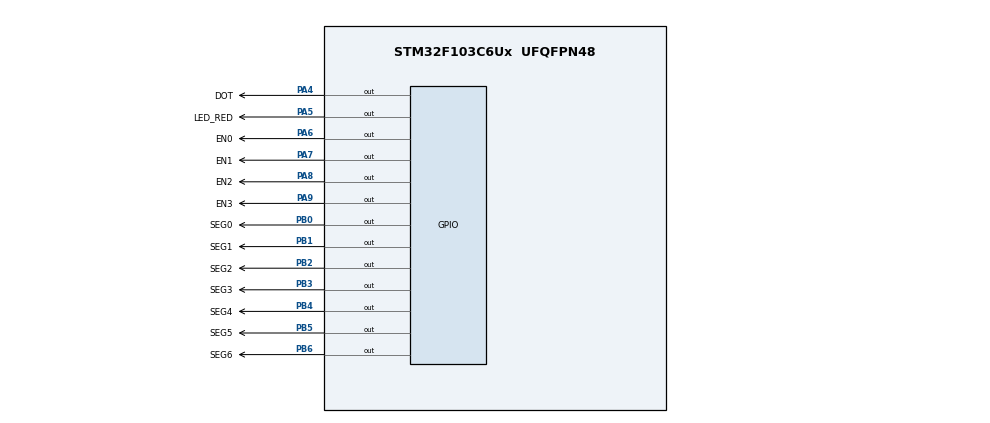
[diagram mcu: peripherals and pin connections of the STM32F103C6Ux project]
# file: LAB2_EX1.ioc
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Mcu.Family=STM32F1
Mcu.Name=STM32F103C6Ux
Mcu.Package=UFQFPN48
NVIC.PriorityGroup=NVIC_PRIORITYGROUP_4
NVIC.TIM2_IRQn=true\:0\:0\:false\:false\:true\:true\:true
PA4.GPIO_Label=DOT
PA4.Signal=GPIO_Output
PA5.GPIO_Label=LED_RED
PA5.Signal=GPIO_Output
PA6.GPIO_Label=EN0
PA6.Signal=GPIO_Output
PA7.GPIO_Label=EN1
PA7.Signal=GPIO_Output
PA8.GPIO_Label=EN2
PA8.Signal=GPIO_Output
PA9.GPIO_Label=EN3
PA9.Signal=GPIO_Output
PB0.GPIO_Label=SEG0
PB0.Signal=GPIO_Output
PB1.GPIO_Label=SEG1
PB1.Signal=GPIO_Output
PB2.GPIO_Label=SEG2
PB2.Signal=GPIO_Output
PB3.GPIO_Label=SEG3
PB3.Signal=GPIO_Output
PB4.GPIO_Label=SEG4
PB4.Signal=GPIO_Output
PB5.GPIO_Label=SEG5
PB5.Signal=GPIO_Output
PB6.GPIO_Label=SEG6
PB6.Signal=GPIO_Output
ProjectManager.HeapSize=0x200
ProjectManager.StackSize=0x400
ProjectManager.TargetToolchain=STM32CubeIDE
RCC.APB1Freq_Value=8000000
RCC.APB2Freq_Value=8000000
TIM2.Period=9
TIM2.Prescaler=7999
VP_SYS_VS_ND.Mode=No_Debug
VP_TIM2_VS_ClockSourceINT.Mode=Internal
board=custom

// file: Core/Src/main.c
/* USER CODE BEGIN Header */
/**
  ******************************************************************************
  * @file           : main.c
  * @brief          : Main program body
  ******************************************************************************
  * @attention
  *
  * <h2><center>&copy; Copyright (c) 2024 STMicroelectronics.
  * All rights reserved.</center></h2>
  *
  * This software component is licensed by ST under BSD 3-Clause license,
  * the "License"; You may not use this file except in compliance with the
  * License. You may obtain a copy of the License at:
  *                        opensource.org/licenses/BSD-3-Clause
  *
  ******************************************************************************
  */
/* USER CODE END Header */
#include "main.h"

TIM_HandleTypeDef htim2;

void SystemClock_Config(void);
static void MX_GPIO_Init(void);
static void MX_TIM2_Init(void);

/* USER CODE BEGIN 0 */

int timer_counter0 = 0;
int timer_flag0 = 0;
int timer_counter1 = 0;
int timer_flag1 = 0;
int TIMER_CYCLE = 10;

void setTimer0(int duration) {
	timer_counter0 = duration / TIMER_CYCLE;
	timer_flag0 = 0;
}

void timer_run0() {
	if (timer_counter0 > 0) {
		timer_counter0--;
		if (timer_counter0 <= 0) {
			timer_flag0 = 1;
		}
	}
}

void setTimer1(int duration) {
	timer_counter1 = duration / TIMER_CYCLE;
	timer_flag1 = 0;
}

void timer_run1() {
	if (timer_counter1 > 0) {
		timer_counter1--;
		if (timer_counter1 <= 0) {
			timer_flag1 = 1;
		}
	}
}

void display7SEG(int num) {
	switch (num) {
	case 0:
		HAL_GPIO_WritePin(SEG0_GPIO_Port, SEG0_Pin, RESET);
		HAL_GPIO_WritePin(SEG1_GPIO_Port, SEG1_Pin, RESET);
		HAL_GPIO_WritePin(SEG2_GPIO_Port, SEG2_Pin, RESET);
		HAL_GPIO_WritePin(SEG3_GPIO_Port, SEG3_Pin, RESET);
		HAL_GPIO_WritePin(SEG4_GPIO_Port, SEG4_Pin, RESET);
		HAL_GPIO_WritePin(SEG5_GPIO_Port, SEG5_Pin, RESET);
		HAL_GPIO_WritePin(SEG6_GPIO_Port, SEG6_Pin, SET);
		break;
	case 1:
		HAL_GPIO_WritePin(SEG0_GPIO_Port, SEG0_Pin, SET);
		HAL_GPIO_WritePin(SEG1_GPIO_Port, SEG1_Pin, RESET);
		HAL_GPIO_WritePin(SEG2_GPIO_Port, SEG2_Pin, RESET);
		HAL_GPIO_WritePin(SEG3_GPIO_Port, SEG3_Pin, SET);
		HAL_GPIO_WritePin(SEG4_GPIO_Port, SEG4_Pin, SET);
		HAL_GPIO_WritePin(SEG5_GPIO_Port, SEG5_Pin, SET);
		HAL_GPIO_WritePin(SEG6_GPIO_Port, SEG6_Pin, SET);
		break;
	case 2:
		HAL_GPIO_WritePin(SEG0_GPIO_Port, SEG0_Pin, RESET);
		HAL_GPIO_WritePin(SEG1_GPIO_Port, SEG1_Pin, RESET);
		HAL_GPIO_WritePin(SEG2_GPIO_Port, SEG2_Pin, SET);
		HAL_GPIO_WritePin(SEG3_GPIO_Port, SEG3_Pin, RESET);
		HAL_GPIO_WritePin(SEG4_GPIO_Port, SEG4_Pin, RESET);
		HAL_GPIO_WritePin(SEG5_GPIO_Port, SEG5_Pin, SET);
		HAL_GPIO_WritePin(SEG6_GPIO_Port, SEG6_Pin, RESET);
		break;
	case 3:
		HAL_GPIO_WritePin(SEG0_GPIO_Port, SEG0_Pin, RESET);
		HAL_GPIO_WritePin(SEG1_GPIO_Port, SEG1_Pin, RESET);
		HAL_GPIO_WritePin(SEG2_GPIO_Port, SEG2_Pin, RESET);
		HAL_GPIO_WritePin(SEG3_GPIO_Port, SEG3_Pin, RESET);
		HAL_GPIO_WritePin(SEG4_GPIO_Port, SEG4_Pin, SET);
		HAL_GPIO_WritePin(SEG5_GPIO_Port, SEG5_Pin, SET);
		HAL_GPIO_WritePin(SEG6_GPIO_Port, SEG6_Pin, RESET);
		break;
	case 4:
		HAL_GPIO_WritePin(SEG0_GPIO_Port, SEG0_Pin, SET);
		HAL_GPIO_WritePin(SEG1_GPIO_Port, SEG1_Pin, RESET);
		HAL_GPIO_WritePin(SEG2_GPIO_Port, SEG2_Pin, RESET);
		HAL_GPIO_WritePin(SEG3_GPIO_Port, SEG3_Pin, SET);
		HAL_GPIO_WritePin(SEG4_GPIO_Port, SEG4_Pin, SET);
		HAL_GPIO_WritePin(SEG5_GPIO_Port, SEG5_Pin, RESET);
		HAL_GPIO_WritePin(SEG6_GPIO_Port, SEG6_Pin, RESET);
		break;
	case 5:
		HAL_GPIO_WritePin(SEG0_GPIO_Port, SEG0_Pin, RESET);
		HAL_GPIO_WritePin(SEG1_GPIO_Port, SEG1_Pin, SET);
		HAL_GPIO_WritePin(SEG2_GPIO_Port, SEG2_Pin, RESET);
		HAL_GPIO_WritePin(SEG3_GPIO_Port, SEG3_Pin, RESET);
		HAL_GPIO_WritePin(SEG4_GPIO_Port, SEG4_Pin, SET);
		HAL_GPIO_WritePin(SEG5_GPIO_Port, SEG5_Pin, RESET);
		HAL_GPIO_WritePin(SEG6_GPIO_Port, SEG6_Pin, RESET);
		break;
	case 6:
		HAL_GPIO_WritePin(SEG0_GPIO_Port, SEG0_Pin, RESET);
		HAL_GPIO_WritePin(SEG1_GPIO_Port, SEG1_Pin, SET);
		HAL_GPIO_WritePin(SEG2_GPIO_Port, SEG2_Pin, RESET);
		HAL_GPIO_WritePin(SEG3_GPIO_Port, SEG3_Pin, RESET);
		HAL_GPIO_WritePin(SEG4_GPIO_Port, SEG4_Pin, RESET);
		HAL_GPIO_WritePin(SEG5_GPIO_Port, SEG5_Pin, RESET);
		HAL_GPIO_WritePin(SEG6_GPIO_Port, SEG6_Pin, RESET);
		break;
	case 7:
		HAL_GPIO_WritePin(SEG0_GPIO_Port, SEG0_Pin, RESET);
		HAL_GPIO_WritePin(SEG1_GPIO_Port, SEG1_Pin, RESET);
		HAL_GPIO_WritePin(SEG2_GPIO_Port, SEG2_Pin, RESET);
		HAL_GPIO_WritePin(SEG3_GPIO_Port, SEG3_Pin, SET);
		HAL_GPIO_WritePin(SEG4_GPIO_Port, SEG4_Pin, SET);
		HAL_GPIO_WritePin(SEG5_GPIO_Port, SEG5_Pin, SET);
		HAL_GPIO_WritePin(SEG6_GPIO_Port, SEG6_Pin, SET);
		break;
	case 8:
		HAL_GPIO_WritePin(SEG0_GPIO_Port, SEG0_Pin, RESET);
		HAL_GPIO_WritePin(SEG1_GPIO_Port, SEG1_Pin, RESET);
		HAL_GPIO_WritePin(SEG2_GPIO_Port, SEG2_Pin, RESET);
		HAL_GPIO_WritePin(SEG3_GPIO_Port, SEG3_Pin, RESET);
		HAL_GPIO_WritePin(SEG4_GPIO_Port, SEG4_Pin, RESET);
		HAL_GPIO_WritePin(SEG5_GPIO_Port, SEG5_Pin, RESET);
		HAL_GPIO_WritePin(SEG6_GPIO_Port, SEG6_Pin, RESET);
		break;
	case 9:
		HAL_GPIO_WritePin(SEG0_GPIO_Port, SEG0_Pin, RESET);
		HAL_GPIO_WritePin(SEG1_GPIO_Port, SEG1_Pin, RESET);
		HAL_GPIO_WritePin(SEG2_GPIO_Port, SEG2_Pin, RESET);
		HAL_GPIO_WritePin(SEG3_GPIO_Port, SEG3_Pin, RESET);
		HAL_GPIO_WritePin(SEG4_GPIO_Port, SEG4_Pin, SET);
		HAL_GPIO_WritePin(SEG5_GPIO_Port, SEG5_Pin, RESET);
		HAL_GPIO_WritePin(SEG6_GPIO_Port, SEG6_Pin, RESET);
		break;
	}
}

const int MAX_LED = 4;
int index_led = 0;
int led_buffer[4] = { 1, 2, 3, 4 };
void update7SEG(int index) {
	switch (index) {
	case 0:
		display7SEG(led_buffer[0]);
		break;
	case 1:
		display7SEG(led_buffer[1]);
		break;
	case 2:
		display7SEG(led_buffer[2]);
		break;
	case 3:
		display7SEG(led_buffer[3]);
		break;
	default:
		break;
	}
}

int hour = 15, minute = 8, second = 50;
void updateClockBuffer() {
	led_buffer[0] = hour / 10;
	led_buffer[1] = hour % 10;
	led_buffer[2] = minute / 10;
	led_buffer[3] = minute % 10;
}

/* USER CODE END 0 */

int main(void)
{

  /* MCU Configuration--------------------------------------------------------*/

  /* Reset of all peripherals, Initializes the Flash interface and the Systick. */
  HAL_Init();

  /* Configure the system clock */
  SystemClock_Config();

  /* Initialize all configured peripherals */
  MX_GPIO_Init();
  MX_TIM2_Init();
  /* USER CODE BEGIN 2 */
	HAL_TIM_Base_Start_IT(&htim2);
  /* USER CODE END 2 */

  /* Infinite loop */
  /* USER CODE BEGIN WHILE */
	setTimer0(1000);
	setTimer1(250);
	int num = 0;
  while (1)
  {
		if (timer_flag0 == 1) {
			second++;
			if (second >= 60) {
				second = 0;
				minute++;
			}
			if (minute >= 60) {
				minute = 0;
				hour++;
			}
			if (hour >= 24) {
				hour = 0;
			}
			updateClockBuffer();

			HAL_GPIO_TogglePin(LED_RED_GPIO_Port, LED_RED_Pin);
			HAL_GPIO_TogglePin(DOT_GPIO_Port, DOT_Pin);

			setTimer0(1000);
		}

		if (timer_flag1 == 1) {
			switch (num) {
			case 0:
				HAL_GPIO_WritePin(EN0_GPIO_Port, EN0_Pin, RESET);
				HAL_GPIO_WritePin(EN1_GPIO_Port, EN1_Pin, SET);
				HAL_GPIO_WritePin(EN2_GPIO_Port, EN2_Pin, SET);
				HAL_GPIO_WritePin(EN3_GPIO_Port, EN3_Pin, SET);
				update7SEG(0);
				num = 1;
				break;
			case 1:
				HAL_GPIO_WritePin(EN0_GPIO_Port, EN0_Pin, SET);
				HAL_GPIO_WritePin(EN1_GPIO_Port, EN1_Pin, RESET);
				HAL_GPIO_WritePin(EN2_GPIO_Port, EN2_Pin, SET);
				HAL_GPIO_WritePin(EN3_GPIO_Port, EN3_Pin, SET);
				update7SEG(1);
				num = 2;
				break;
			case 2:
				HAL_GPIO_WritePin(EN0_GPIO_Port, EN0_Pin, SET);
				HAL_GPIO_WritePin(EN1_GPIO_Port, EN1_Pin, SET);
				HAL_GPIO_WritePin(EN2_GPIO_Port, EN2_Pin, RESET);
				HAL_GPIO_WritePin(EN3_GPIO_Port, EN3_Pin, SET);
				update7SEG(2);
				num = 3;
				break;
			case 3:
				HAL_GPIO_WritePin(EN0_GPIO_Port, EN0_Pin, SET);
				HAL_GPIO_WritePin(EN1_GPIO_Port, EN1_Pin, SET);
				HAL_GPIO_WritePin(EN2_GPIO_Port, EN2_Pin, SET);
				HAL_GPIO_WritePin(EN3_GPIO_Port, EN3_Pin, RESET);
				update7SEG(3);
				num = 0;
				break;
			}

			setTimer1(250);
		}

    /* USER CODE END WHILE */

  }
}

void SystemClock_Config(void)
{
  RCC_OscInitTypeDef RCC_OscInitStruct = {0};
  RCC_ClkInitTypeDef RCC_ClkInitStruct = {0};

  /** Initializes the RCC Oscillators according to the specified parameters
  * in the RCC_OscInitTypeDef structure.
  */
  RCC_OscInitStruct.OscillatorType = RCC_OSCILLATORTYPE_HSI;
  RCC_OscInitStruct.HSIState = RCC_HSI_ON;
  RCC_OscInitStruct.HSICalibrationValue = RCC_HSICALIBRATION_DEFAULT;
  RCC_OscInitStruct.PLL.PLLState = RCC_PLL_NONE;
  if (HAL_RCC_OscConfig(&RCC_OscInitStruct) != HAL_OK)
  {
    Error_Handler();
  }
  /** Initializes the CPU, AHB and APB buses clocks
  */
  RCC_ClkInitStruct.ClockType = RCC_CLOCKTYPE_HCLK|RCC_CLOCKTYPE_SYSCLK
                              |RCC_CLOCKTYPE_PCLK1|RCC_CLOCKTYPE_PCLK2;
  RCC_ClkInitStruct.SYSCLKSource = RCC_SYSCLKSOURCE_HSI;
  RCC_ClkInitStruct.AHBCLKDivider = RCC_SYSCLK_DIV1;
  RCC_ClkInitStruct.APB1CLKDivider = RCC_HCLK_DIV1;
  RCC_ClkInitStruct.APB2CLKDivider = RCC_HCLK_DIV1;

  if (HAL_RCC_ClockConfig(&RCC_ClkInitStruct, FLASH_LATENCY_0) != HAL_OK)
  {
    Error_Handler();
  }
}

static void MX_TIM2_Init(void)
{

  TIM_ClockConfigTypeDef sClockSourceConfig = {0};
  TIM_MasterConfigTypeDef sMasterConfig = {0};

  htim2.Instance = TIM2;
  htim2.Init.Prescaler = 7999;
  htim2.Init.CounterMode = TIM_COUNTERMODE_UP;
  htim2.Init.Period = 9;
  htim2.Init.ClockDivision = TIM_CLOCKDIVISION_DIV1;
  htim2.Init.AutoReloadPreload = TIM_AUTORELOAD_PRELOAD_DISABLE;
  if (HAL_TIM_Base_Init(&htim2) != HAL_OK)
  {
    Error_Handler();
  }
  sClockSourceConfig.ClockSource = TIM_CLOCKSOURCE_INTERNAL;
  if (HAL_TIM_ConfigClockSource(&htim2, &sClockSourceConfig) != HAL_OK)
  {
    Error_Handler();
  }
  sMasterConfig.MasterOutputTrigger = TIM_TRGO_RESET;
  sMasterConfig.MasterSlaveMode = TIM_MASTERSLAVEMODE_DISABLE;
  if (HAL_TIMEx_MasterConfigSynchronization(&htim2, &sMasterConfig) != HAL_OK)
  {
    Error_Handler();
  }

}

static void MX_GPIO_Init(void)
{
  GPIO_InitTypeDef GPIO_InitStruct = {0};

  /* GPIO Ports Clock Enable */
  __HAL_RCC_GPIOA_CLK_ENABLE();
  __HAL_RCC_GPIOB_CLK_ENABLE();

  /*Configure GPIO pin Output Level */
  HAL_GPIO_WritePin(GPIOA, DOT_Pin|LED_RED_Pin|EN0_Pin|EN1_Pin
                          |EN2_Pin|EN3_Pin, GPIO_PIN_RESET);

  /*Configure GPIO pin Output Level */
  HAL_GPIO_WritePin(GPIOB, SEG0_Pin|SEG1_Pin|SEG2_Pin|SEG3_Pin
                          |SEG4_Pin|SEG5_Pin|SEG6_Pin, GPIO_PIN_RESET);

  /*Configure GPIO pins : DOT_Pin LED_RED_Pin EN0_Pin EN1_Pin
                           EN2_Pin EN3_Pin */
  GPIO_InitStruct.Pin = DOT_Pin|LED_RED_Pin|EN0_Pin|EN1_Pin
                          |EN2_Pin|EN3_Pin;
  GPIO_InitStruct.Mode = GPIO_MODE_OUTPUT_PP;
  GPIO_InitStruct.Pull = GPIO_NOPULL;
  GPIO_InitStruct.Speed = GPIO_SPEED_FREQ_LOW;
  HAL_GPIO_Init(GPIOA, &GPIO_InitStruct);

  /*Configure GPIO pins : SEG0_Pin SEG1_Pin SEG2_Pin SEG3_Pin
                           SEG4_Pin SEG5_Pin SEG6_Pin */
  GPIO_InitStruct.Pin = SEG0_Pin|SEG1_Pin|SEG2_Pin|SEG3_Pin
                          |SEG4_Pin|SEG5_Pin|SEG6_Pin;
  GPIO_InitStruct.Mode = GPIO_MODE_OUTPUT_PP;
  GPIO_InitStruct.Pull = GPIO_NOPULL;
  GPIO_InitStruct.Speed = GPIO_SPEED_FREQ_LOW;
  HAL_GPIO_Init(GPIOB, &GPIO_InitStruct);

}

/* USER CODE BEGIN 4 */

void HAL_TIM_PeriodElapsedCallback(TIM_HandleTypeDef *htim) {
	timer_run0();
	timer_run1();
}

/* USER CODE END 4 */

void Error_Handler(void)
{
  __disable_irq();
  while (1)
  {
  }
}

/************************ (C) COPYRIGHT STMicroelectronics *****END OF FILE****/
